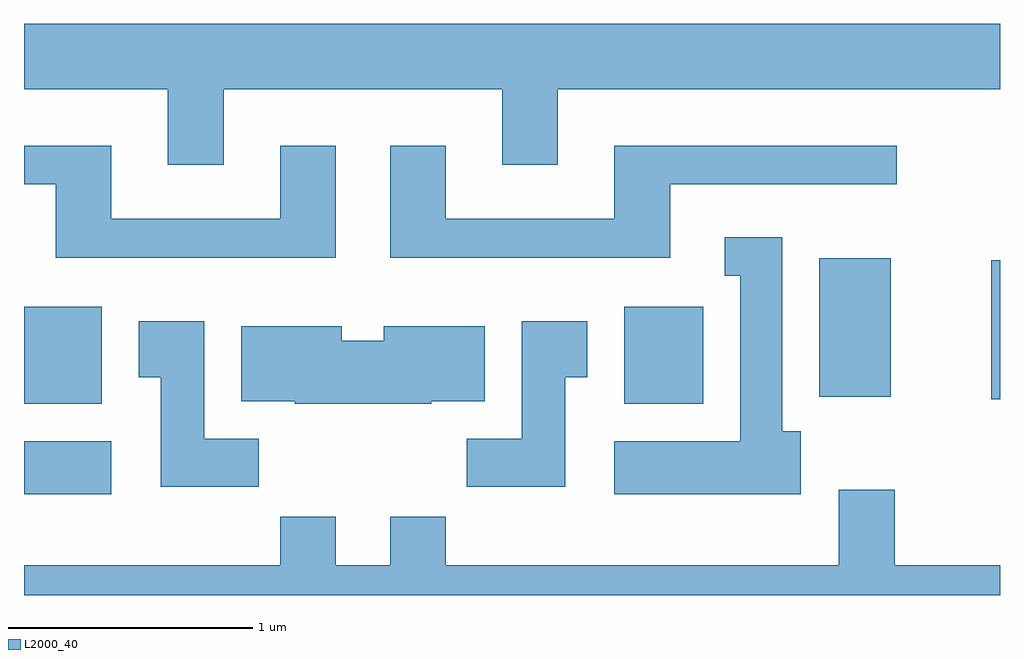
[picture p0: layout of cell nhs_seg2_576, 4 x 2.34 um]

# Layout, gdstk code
import gdstk
lib = gdstk.Library(unit=1e-6, precision=1e-09)
def R(c, l, rs):  # rectangles x0, y0, x1, y1
    for r in rs: c.add(gdstk.rectangle(r[:2], r[2:], *l))
def P(c, l, *ps):  # polygons
    for p in ps: c.add(gdstk.Polygon(p, *l))
L2000_40 = (2000, 40)

nhs_seg2_576 = lib.new_cell('nhs_seg2_576')
R(nhs_seg2_576, L2000_40, [(201.611,1042.216,201.969,1042.434), (201.611,1042.586,201.929,1042.984), (204.071,1042.586,204.394,1042.984), (205.576,1042.606,205.611,1043.174), (204.871,1042.616,205.164,1043.184)])
P(nhs_seg2_576, L2000_40, [(202.429,1043.876),(203.571,1043.876),(203.571,1043.566),(203.799,1043.566),(203.799,1043.876),(205.611,1043.876),(205.611,1044.144),(201.611,1044.144),(201.611,1043.876),(202.201,1043.876),(202.201,1043.566),(202.429,1043.566)],
  [(204.259,1043.486),(205.188,1043.486),(205.188,1043.644),(204.031,1043.644),(204.031,1043.344),(203.339,1043.344),(203.339,1043.644),(203.111,1043.644),(203.111,1043.186),(204.259,1043.186)],
  [(202.889,1043.644),(202.661,1043.644),(202.661,1043.344),(201.969,1043.344),(201.969,1043.644),(201.611,1043.644),(201.611,1043.486),(201.741,1043.486),(201.741,1043.186),(202.889,1043.186)],
  [(204.794,1042.474),(204.719,1042.474),(204.719,1043.269),(204.483,1043.269),(204.483,1043.111),(204.546,1043.111),(204.546,1042.434),(204.031,1042.434),(204.031,1042.216),(204.794,1042.216)],
  [(202.574,1042.444),(202.349,1042.444),(202.349,1042.924),(202.081,1042.924),(202.081,1042.696),(202.171,1042.696),(202.171,1042.246),(202.574,1042.246)],
  [(203.829,1042.696),(203.919,1042.696),(203.919,1042.924),(203.651,1042.924),(203.651,1042.444),(203.426,1042.444),(203.426,1042.246),(203.829,1042.246)],
  [(203.28,1042.596),(203.499,1042.596),(203.499,1042.904),(203.086,1042.904),(203.086,1042.844),(202.914,1042.844),(202.914,1042.904),(202.501,1042.904),(202.501,1042.596),(202.72,1042.596),(202.72,1042.586),(203.28,1042.586)],
  [(205.611,1041.924),(205.179,1041.924),(205.179,1042.234),(204.951,1042.234),(204.951,1041.924),(203.339,1041.924),(203.339,1042.124),(203.111,1042.124),(203.111,1041.924),(202.889,1041.924),(202.889,1042.124),(202.661,1042.124),(202.661,1041.924),(201.611,1041.924),(201.611,1041.802),(205.611,1041.802)])

lib.write_gds('nhs_seg2_576.gds')
